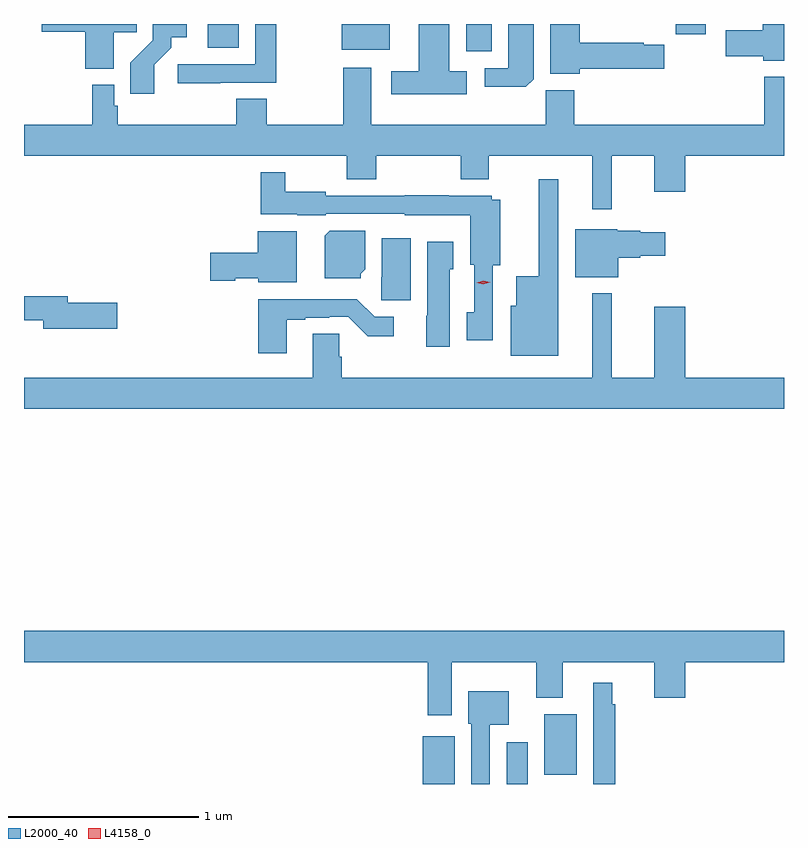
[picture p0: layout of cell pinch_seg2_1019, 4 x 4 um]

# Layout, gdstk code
import gdstk
lib = gdstk.Library(unit=1e-6, precision=1e-09)
def R(c, l, rs):  # rectangles x0, y0, x1, y1
    for r in rs: c.add(gdstk.rectangle(r[:2], r[2:], *l))
def P(c, l, *ps):  # polygons
    for p in ps: c.add(gdstk.Polygon(p, *l))
L2000_40 = (2000, 40)
L4158_0 = (4158, 0)

pinch_seg2_1019 = lib.new_cell('pinch_seg2_1019')
R(pinch_seg2_1019, L2000_40, [(331.622,603.038,331.789,603.289), (332.063,603.038,332.173,603.259), (332.261,603.086,332.431,603.406), (331.85,606.894,331.984,607.038), (331.196,606.902,331.447,607.038), (330.491,606.912,330.652,607.038), (332.953,606.985,333.112,607.038)])
P(pinch_seg2_1019, L2000_40, [(330.208,606.823),(330.298,606.913),(330.298,606.968),(330.379,606.968),(330.379,607.038),(330.201,607.038),(330.201,606.953),(330.082,606.834),(330.082,606.672),(330.208,606.672)],
  [(331.852,606.79),(331.762,606.79),(331.762,607.038),(331.601,607.038),(331.601,606.79),(331.455,606.79),(331.455,606.668),(331.852,606.668)],
  [(332.447,606.802),(332.894,606.802),(332.894,606.93),(332.786,606.93),(332.786,606.939),(332.447,606.939),(332.447,607.038),(332.294,607.038),(332.294,606.776),(332.447,606.776)],
  [(329.995,606.994),(330.116,606.994),(330.116,607.038),(329.616,607.038),(329.616,606.997),(329.846,606.997),(329.846,606.803),(329.995,606.803)],
  [(332.206,606.748),(332.206,607.038),(332.072,607.038),(332.072,606.804),(331.947,606.804),(331.947,606.707),(332.164,606.707)],
  [(330.557,606.729),(330.85,606.729),(330.85,607.038),(330.741,607.038),(330.741,606.825),(330.333,606.825),(330.333,606.727),(330.557,606.727)],
  [(333.523,607.038),(333.41,607.038),(333.41,607.004),(333.216,607.004),(333.216,606.869),(333.414,606.869),(333.414,606.845),(333.523,606.845)],
  [(332.617,606.344),(332.84,606.344),(332.84,606.156),(333.004,606.156),(333.004,606.344),(333.523,606.344),(333.523,606.76),(333.419,606.76),(333.419,606.508),(332.42,606.508),(332.42,606.69),(332.269,606.69),(332.269,606.508),(331.351,606.508),(331.351,606.808),(331.204,606.808),(331.204,606.508),(330.801,606.508),(330.801,606.644),(330.641,606.644),(330.641,606.508),(330.017,606.508),(330.017,606.609),(329.997,606.609),(329.997,606.718),(329.881,606.718),(329.881,606.508),(329.523,606.508),(329.523,606.344),(331.222,606.344),(331.222,606.22),(331.377,606.22),(331.377,606.344),(331.822,606.344),(331.822,606.22),(331.969,606.22),(331.969,606.344),(332.513,606.344),(332.513,606.063),(332.617,606.063)],
  [(331.989,605.768),(332.029,605.768),(332.029,606.112),(331.986,606.112),(331.986,606.135),(331.759,606.135),(331.759,606.137),(331.527,606.137),(331.527,606.135),(331.11,606.135),(331.11,606.154),(330.898,606.154),(330.898,606.259),(330.769,606.259),(330.769,606.038),(330.96,606.038),(330.96,606.032),(331.11,606.032),(331.11,606.039),(331.527,606.039),(331.527,606.032),(331.871,606.032),(331.871,605.772),(331.893,605.772),(331.893,605.521),(331.853,605.521),(331.853,605.373),(331.989,605.373)],
  [(332.335,606.22),(332.231,606.22),(332.231,605.71),(332.114,605.71),(332.114,605.554),(332.084,605.554),(332.084,605.291),(332.335,605.291)],
  [(332.65,605.807),(332.766,605.807),(332.766,605.819),(332.899,605.819),(332.899,605.941),(332.766,605.941),(332.766,605.949),(332.646,605.949),(332.646,605.959),(332.423,605.959),(332.423,605.705),(332.65,605.705)],
  [(331.296,605.724),(331.318,605.746),(331.318,605.95),(331.132,605.95),(331.106,605.924),(331.106,605.699),(331.296,605.699)],
  [(330.958,605.948),(330.752,605.948),(330.752,605.834),(330.504,605.834),(330.504,605.687),(330.636,605.687),(330.636,605.699),(330.756,605.699),(330.756,605.678),(330.958,605.678)],
  [(331.558,605.911),(331.406,605.911),(331.406,605.706),(331.402,605.706),(331.402,605.583),(331.558,605.583)],
  [(331.765,605.748),(331.783,605.748),(331.783,605.893),(331.646,605.893),(331.646,605.502),(331.64,605.502),(331.64,605.34),(331.765,605.34)],
  [(333.523,605.176),(333.004,605.176),(333.004,605.551),(332.84,605.551),(332.84,605.176),(332.617,605.176),(332.617,605.62),(332.513,605.62),(332.513,605.176),(331.196,605.176),(331.196,605.286),(331.182,605.286),(331.182,605.408),(331.043,605.408),(331.043,605.176),(329.523,605.176),(329.523,605.012),(333.523,605.012)],
  [(330.013,605.57),(329.752,605.57),(329.752,605.606),(329.523,605.606),(329.523,605.478),(329.624,605.478),(329.624,605.435),(330.013,605.435)],
  [(330.907,605.481),(331.003,605.481),(331.003,605.493),(331.13,605.493),(331.13,605.496),(331.23,605.496),(331.333,605.394),(331.468,605.394),(331.468,605.496),(331.368,605.496),(331.274,605.59),(330.755,605.59),(330.755,605.304),(330.907,605.304)],
  [(331.774,603.68),(332.219,603.68),(332.219,603.491),(332.359,603.491),(332.359,603.68),(332.84,603.68),(332.84,603.492),(333.004,603.492),(333.004,603.68),(333.523,603.68),(333.523,603.844),(329.523,603.844),(329.523,603.68),(331.649,603.68),(331.649,603.399),(331.774,603.399)],
  [(332.636,603.458),(332.619,603.458),(332.619,603.571),(332.52,603.571),(332.52,603.038),(332.636,603.038)],
  [(331.974,603.35),(332.074,603.35),(332.074,603.526),(331.862,603.526),(331.862,603.354),(331.878,603.354),(331.878,603.038),(331.974,603.038)])
P(pinch_seg2_1019, L4158_0, [(331.941,605.667),(331.905,605.675),(331.904,605.676),(331.905,605.676),(331.94,605.687),(331.977,605.678),(331.977,605.678),(331.977,605.678)])

lib.write_gds('pinch_seg2_1019.gds')
